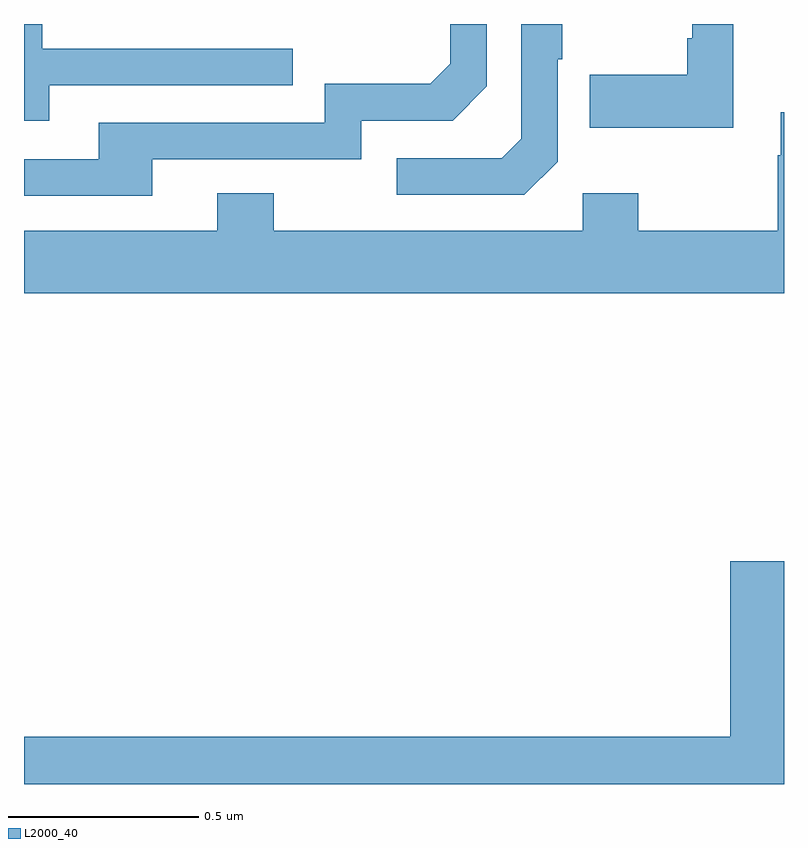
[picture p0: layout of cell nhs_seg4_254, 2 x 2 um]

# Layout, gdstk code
import gdstk
lib = gdstk.Library(unit=1e-6, precision=1e-09)
def P(c, l, *ps):  # polygons
    for p in ps: c.add(gdstk.Polygon(p, *l))
L2000_40 = (2000, 40)

nhs_seg4_254 = lib.new_cell('nhs_seg4_254')
P(nhs_seg4_254, L2000_40, [(115.404,758.538),(115.404,758.807),(115.417,758.807),(115.417,758.9),(115.308,758.9),(115.308,758.598),(115.257,758.547),(114.981,758.547),(114.981,758.451),(115.317,758.451)],
  [(114.337,758.544),(114.888,758.544),(114.888,758.646),(115.128,758.646),(115.218,758.736),(115.218,758.9),(115.122,758.9),(115.122,758.796),(115.069,758.743),(114.792,758.743),(114.792,758.64),(114.197,758.64),(114.197,758.544),(114,758.544),(114,758.448),(114.337,758.448)],
  [(115.867,758.9),(115.758,758.9),(115.758,758.863),(115.746,758.863),(115.746,758.767),(115.489,758.767),(115.489,758.627),(115.867,758.627)],
  [(114.067,758.739),(114.707,758.739),(114.707,758.835),(114.048,758.835),(114.048,758.9),(114,758.9),(114,758.645),(114.067,758.645)],
  [(116,758.668),(115.991,758.668),(115.991,758.555),(115.984,758.555),(115.984,758.356),(115.617,758.356),(115.617,758.455),(115.47,758.455),(115.47,758.356),(114.657,758.356),(114.657,758.455),(114.509,758.455),(114.509,758.356),(114,758.356),(114,758.192),(116,758.192)],
  [(116,757.486),(115.859,757.486),(115.859,757.024),(114,757.024),(114,756.9),(116,756.9)])

lib.write_gds('nhs_seg4_254.gds')
